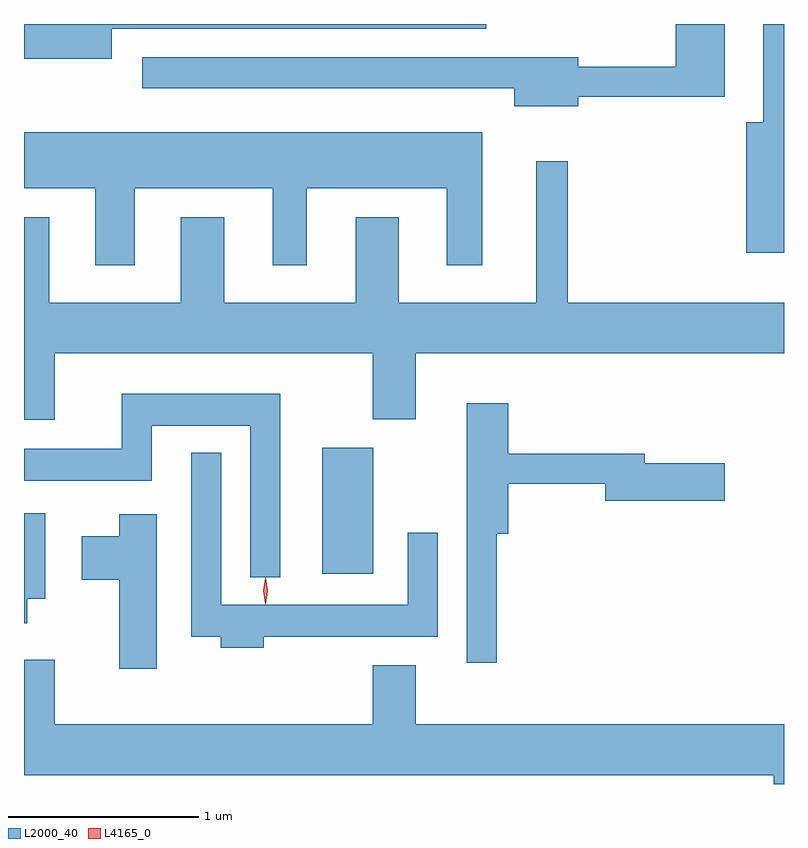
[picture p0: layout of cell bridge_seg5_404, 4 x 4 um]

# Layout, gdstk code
import gdstk
lib = gdstk.Library(unit=1e-6, precision=1e-09)
def R(c, l, rs):  # rectangles x0, y0, x1, y1
    for r in rs: c.add(gdstk.rectangle(r[:2], r[2:], *l))
def P(c, l, *ps):  # polygons
    for p in ps: c.add(gdstk.Polygon(p, *l))
L2000_40 = (2000, 40)
L4165_0 = (4165, 0)

bridge_seg5_404 = lib.new_cell('bridge_seg5_404')
R(bridge_seg5_404, L2000_40, [(545.666,1517.796,545.934,1518.459)])
P(bridge_seg5_404, L2000_40, [(548.096,1520.69),(547.986,1520.69),(547.986,1520.174),(547.896,1520.174),(547.896,1519.486),(548.096,1519.486)],
  [(544.559,1520.666),(546.529,1520.666),(546.529,1520.69),(544.096,1520.69),(544.096,1520.506),(544.559,1520.506)],
  [(547.014,1520.306),(547.784,1520.306),(547.784,1520.69),(547.526,1520.69),(547.526,1520.464),(547.014,1520.464),(547.014,1520.514),(544.718,1520.514),(544.718,1520.351),(546.676,1520.351),(546.676,1520.256),(547.014,1520.256)],
  [(544.679,1519.826),(545.406,1519.826),(545.406,1519.421),(545.584,1519.421),(545.584,1519.826),(546.321,1519.826),(546.321,1519.421),(546.509,1519.421),(546.509,1520.119),(544.096,1520.119),(544.096,1519.826),(544.471,1519.826),(544.471,1519.421),(544.679,1519.421)],
  [(544.259,1518.956),(545.931,1518.956),(545.931,1518.611),(546.159,1518.611),(546.159,1518.956),(548.096,1518.956),(548.096,1519.224),(546.959,1519.224),(546.959,1519.968),(546.791,1519.968),(546.791,1519.224),(546.069,1519.224),(546.069,1519.674),(545.841,1519.674),(545.841,1519.224),(545.149,1519.224),(545.149,1519.674),(544.921,1519.674),(544.921,1519.224),(544.229,1519.224),(544.229,1519.674),(544.096,1519.674),(544.096,1518.606),(544.259,1518.606)],
  [(545.444,1518.744),(544.611,1518.744),(544.611,1518.454),(544.096,1518.454),(544.096,1518.286),(544.769,1518.286),(544.769,1518.576),(545.286,1518.576),(545.286,1517.778),(545.444,1517.778)],
  [(546.584,1518.006),(546.644,1518.006),(546.644,1518.271),(547.156,1518.271),(547.156,1518.181),(547.784,1518.181),(547.784,1518.379),(547.364,1518.379),(547.364,1518.429),(546.644,1518.429),(546.644,1518.694),(546.426,1518.694),(546.426,1517.328),(546.584,1517.328)],
  [(545.359,1517.466),(546.274,1517.466),(546.274,1518.013),(546.116,1518.013),(546.116,1517.634),(545.134,1517.634),(545.134,1518.433),(544.976,1518.433),(544.976,1517.466),(545.131,1517.466),(545.131,1517.406),(545.359,1517.406)],
  [(544.114,1517.666),(544.209,1517.666),(544.209,1518.114),(544.096,1518.114),(544.096,1517.536),(544.114,1517.536)],
  [(544.794,1518.109),(544.596,1518.109),(544.596,1517.994),(544.401,1517.994),(544.401,1517.766),(544.596,1517.766),(544.596,1517.296),(544.794,1517.296)],
  [(548.096,1517.004),(546.159,1517.004),(546.159,1517.314),(545.931,1517.314),(545.931,1517.004),(544.259,1517.004),(544.259,1517.344),(544.096,1517.344),(544.096,1516.736),(548.041,1516.736),(548.041,1516.69),(548.096,1516.69)])
P(bridge_seg5_404, L4165_0, [(545.368,1517.637),(545.368,1517.637),(545.358,1517.707),(545.368,1517.776),(545.368,1517.776),(545.368,1517.776),(545.378,1517.707),(545.368,1517.637)],
  [(545.365,1517.639),(545.365,1517.64),(545.355,1517.706),(545.365,1517.772),(545.365,1517.773),(545.366,1517.772),(545.375,1517.706),(545.366,1517.64)])

lib.write_gds('bridge_seg5_404.gds')
